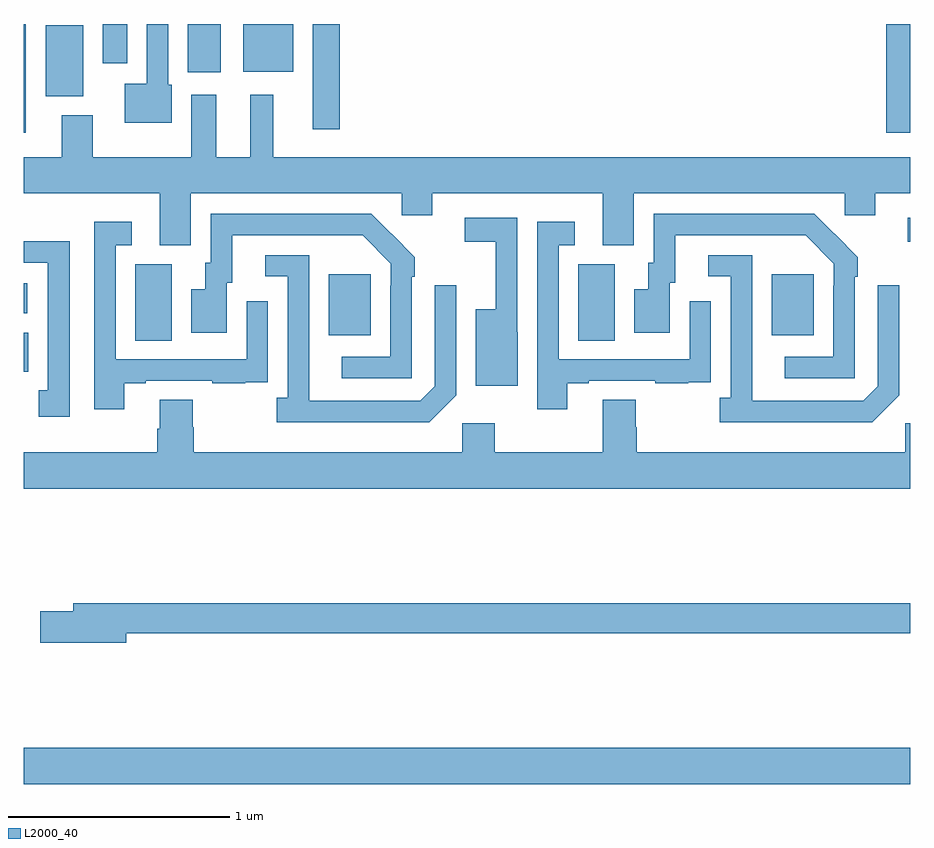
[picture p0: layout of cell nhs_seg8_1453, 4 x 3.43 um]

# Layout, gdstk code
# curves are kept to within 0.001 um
import gdstk
lib = gdstk.Library(unit=1e-6, precision=1e-09)
def R(c, l, rs):  # rectangles x0, y0, x1, y1
    for r in rs: c.add(gdstk.rectangle(r[:2], r[2:], *l))
def P(c, l, *ps):  # polygons
    for p in ps: c.add(gdstk.Polygon(p, *l))
L2000_40 = (2000, 40)

nhs_seg8_1453 = lib.new_cell('nhs_seg8_1453')
R(nhs_seg8_1453, L2000_40, [(203,1144.472,207,1144.636), (203,1146.332,203.02,1146.508), (203.504,1146.472,203.668,1146.816), (205.502,1146.472,205.666,1146.816), (204.377,1146.497,204.565,1146.772), (206.375,1146.497,206.563,1146.772), (203,1146.596,203.017,1146.73), (206.988,1146.918,207,1147.026), (203,1147.41,203.01,1147.9), (206.89,1147.41,207,1147.9), (204.305,1147.425,204.427,1147.9), (203.099,1147.574,203.269,1147.894), (203.741,1147.683,203.89,1147.9), (203.99,1147.685,204.217,1147.9), (203.357,1147.722,203.467,1147.9)])
P(nhs_seg8_1453, L2000_40, [(203.668,1147.626),(203.652,1147.626),(203.652,1147.9),(203.556,1147.9),(203.556,1147.63),(203.456,1147.63),(203.456,1147.454),(203.668,1147.454)],
  [(203.755,1147.136),(204.705,1147.136),(204.705,1147.038),(204.844,1147.038),(204.844,1147.136),(205.613,1147.136),(205.613,1146.901),(205.753,1146.901),(205.753,1147.136),(206.703,1147.136),(206.703,1147.038),(206.842,1147.038),(206.842,1147.136),(207,1147.136),(207,1147.3),(204.127,1147.3),(204.127,1147.582),(204.023,1147.582),(204.023,1147.3),(203.869,1147.3),(203.869,1147.582),(203.756,1147.582),(203.756,1147.3),(203.311,1147.3),(203.311,1147.489),(203.171,1147.489),(203.171,1147.3),(203,1147.3),(203,1147.136),(203.615,1147.136),(203.615,1146.901),(203.755,1146.901)],
  [(204.75,1146.761),(204.765,1146.761),(204.765,1146.849),(204.568,1147.044),(203.844,1147.044),(203.844,1146.822),(203.819,1146.822),(203.819,1146.703),(203.756,1146.703),(203.756,1146.507),(203.917,1146.507),(203.917,1146.732),(203.941,1146.732),(203.941,1146.948),(204.529,1146.948),(204.657,1146.819),(204.657,1146.719),(204.654,1146.719),(204.654,1146.399),(204.435,1146.399),(204.435,1146.303),(204.75,1146.303)],
  [(206.748,1146.761),(206.763,1146.761),(206.763,1146.849),(206.566,1147.044),(205.842,1147.044),(205.842,1146.822),(205.817,1146.822),(205.817,1146.703),(205.754,1146.703),(205.754,1146.507),(205.915,1146.507),(205.915,1146.732),(205.939,1146.732),(205.939,1146.948),(206.527,1146.948),(206.655,1146.819),(206.655,1146.719),(206.652,1146.719),(206.652,1146.399),(206.433,1146.399),(206.433,1146.303),(206.748,1146.303)],
  [(205.228,1146.509),(205.227,1146.509),(205.227,1147.026),(204.99,1147.026),(204.99,1146.918),(205.13,1146.918),(205.13,1146.613),(205.04,1146.613),(205.04,1146.269),(205.228,1146.269)],
  [(205.453,1146.279),(205.549,1146.279),(205.549,1146.291),(205.849,1146.291),(205.849,1146.279),(205.997,1146.279),(205.997,1146.285),(206.099,1146.285),(206.099,1146.394),(206.1,1146.394),(206.1,1146.649),(206.004,1146.649),(206.004,1146.387),(205.413,1146.387),(205.413,1146.903),(205.486,1146.903),(205.486,1147.009),(205.317,1147.009),(205.317,1146.162),(205.453,1146.162)],
  [(203.455,1146.279),(203.551,1146.279),(203.551,1146.291),(203.851,1146.291),(203.851,1146.279),(203.999,1146.279),(203.999,1146.285),(204.101,1146.285),(204.101,1146.394),(204.102,1146.394),(204.102,1146.649),(204.006,1146.649),(204.006,1146.387),(203.415,1146.387),(203.415,1146.903),(203.488,1146.903),(203.488,1147.009),(203.319,1147.009),(203.319,1146.162),(203.455,1146.162)],
  [(203.209,1146.92),(203,1146.92),(203,1146.822),(203.108,1146.822),(203.108,1146.249),(203.069,1146.249),(203.069,1146.129),(203.209,1146.129)],
  [(204.951,1146.225),(204.951,1146.721),(204.855,1146.721),(204.855,1146.267),(204.789,1146.201),(204.289,1146.201),(204.288,1146.858),(204.09,1146.858),(204.09,1146.762),(204.192,1146.762),(204.192,1146.214),(204.141,1146.214),(204.141,1146.104),(204.83,1146.104)],
  [(206.949,1146.225),(206.949,1146.721),(206.853,1146.721),(206.853,1146.267),(206.787,1146.201),(206.287,1146.201),(206.286,1146.858),(206.088,1146.858),(206.088,1146.762),(206.19,1146.762),(206.19,1146.214),(206.139,1146.214),(206.139,1146.104),(206.828,1146.104)],
  [(207,1146.1),(206.976,1146.1),(206.976,1145.968),(205.766,1145.968),(205.766,1146.081),(205.761,1146.081),(205.761,1146.206),(205.613,1146.206),(205.613,1145.968),(205.125,1145.968),(205.125,1146.1),(204.978,1146.1),(204.978,1145.968),(203.768,1145.968),(203.768,1146.081),(203.763,1146.081),(203.763,1146.206),(203.615,1146.206),(203.615,1146.074),(203.603,1146.074),(203.603,1145.968),(203,1145.968),(203,1145.804),(207,1145.804)],
  [(203.464,1145.152),(207,1145.152),(207,1145.288),(203.225,1145.288),(203.225,1145.252),(203.076,1145.252),(203.076,1145.11),(203.464,1145.11)])

lib.write_gds('nhs_seg8_1453.gds')
